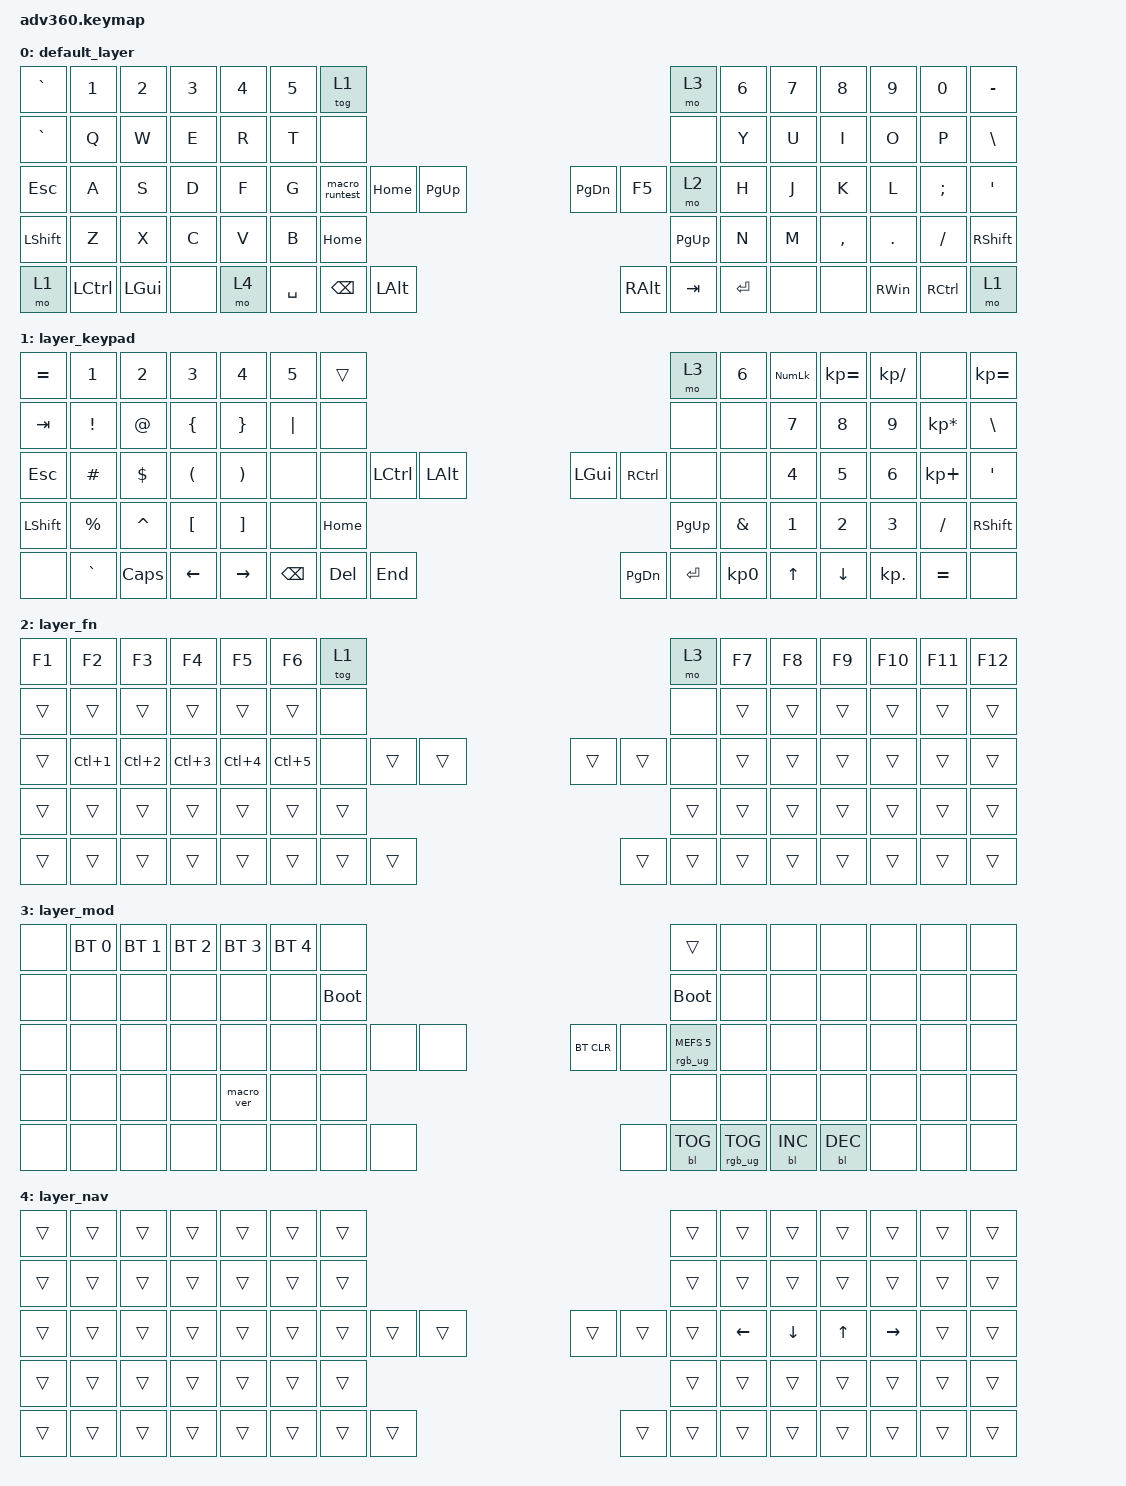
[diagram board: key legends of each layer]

/*
 * Copyright (c) 2020 The ZMK Contributors
 *
 * SPDX-License-Identifier: MIT
 */


/* THIS FILE WAS GENERATED!
 *
 * This file was generated automatically. You may or may not want to
 * edit it directly.
 */

#include <behaviors.dtsi>
#include <dt-bindings/zmk/keys.h>
#include <dt-bindings/zmk/bt.h>
#include <dt-bindings/zmk/rgb.h>
#include <dt-bindings/zmk/backlight.h>

/ {
  behaviors {
    #include "macros.dtsi"
    #include "version.dtsi"

    hm: homerow_mods {
        compatible = "zmk,behavior-hold-tap";
        label = "HOMEROW_MODS";
        #binding-cells = <2>;
        tapping-term-ms = <200>;
        quick_tap_ms = <175>;
        flavor = "tap-preferred";
        bindings = <&kp>, <&kp>;
    };
  };

    keymap {
        compatible = "zmk,keymap";


        default_layer {
            bindings = <
 &kp GRAVE     &kp N1        &kp N2  &kp N3  &kp N4  &kp N5                    &tog 1                                                                           &mo 3  &kp N6  &kp N7     &kp N8         &kp N9     &kp N0  &kp MINUS
 &kp GRAVE      &kp Q         &kp W   &kp E   &kp R   &kp T                     &none                                                                           &none   &kp Y   &kp U      &kp I          &kp O      &kp P   &kp BSLH
   &kp ESC      &kp A         &kp S   &kp D   &kp F   &kp G            &macro_runtest       &kp HOME   &kp PAGE_UP                  &kp PAGE_DOWN   &kp F5      &mo 2   &kp H   &kp J      &kp K          &kp L   &kp SEMI    &kp SQT
 &kp LSHFT      &kp Z         &kp X   &kp C   &kp V   &kp B                                               &kp HOME                      &kp PG_UP                       &kp N   &kp M  &kp COMMA        &kp DOT   &kp FSLH  &kp RSHFT
     &mo 1  &kp LCTRL  &kp LEFT_GUI   &none   &mo 4                         &kp SPACE  &kp BACKSPACE  &kp LEFT_ALT                  &kp RIGHT_ALT  &kp TAB  &kp ENTER           &none      &none  &kp RIGHT_WIN  &kp RCTRL      &mo 1
            >;
        };

        layer_keypad {
            bindings = <
 &kp EQUAL           &kp N1      &kp N2                &kp N3                 &kp N4    &kp N5              &trans                                                                 &mo 3         &kp N6  &kp KP_NUM  &kp KP_EQUAL  &kp KP_DIVIDE            &none  &kp KP_EQUAL
   &kp TAB  &kp EXCLAMATION      &kp AT        &kp LEFT_BRACE        &kp RIGHT_BRACE  &kp PIPE               &none                                                                 &none          &none      &kp N7        &kp N8         &kp N9  &kp KP_MULTIPLY      &kp BSLH
   &kp ESC        &kp POUND  &kp DOLLAR  &kp LEFT_PARENTHESIS  &kp RIGHT_PARENTHESIS     &none               &none  &kp LCTRL  &kp LALT                   &kp LGUI  &kp RCTRL      &none          &none      &kp N4        &kp N5         &kp N6      &kp KP_PLUS       &kp SQT
 &kp LSHFT      &kp PERCENT   &kp CARET      &kp LEFT_BRACKET      &kp RIGHT_BRACKET     &none                                 &kp HOME                  &kp PG_UP                        &kp AMPERSAND      &kp N1        &kp N2         &kp N3        &kp SLASH     &kp RSHFT
     &none        &kp GRAVE    &kp CAPS              &kp LEFT              &kp RIGHT                      &kp BSPC    &kp DEL   &kp END                  &kp PG_DN  &kp ENTER  &kp KP_N0                     &kp UP      &kp DOWN     &kp KP_DOT        &kp EQUAL         &none
            >;
        };

        layer_fn {
            bindings = <
 &kp F1            &kp F2            &kp F3      &kp F4      &kp F5      &kp F6            &tog 1                                                   &mo 3  &kp F7  &kp F8  &kp F9  &kp F10  &kp F11  &kp F12
 &trans            &trans            &trans      &trans      &trans      &trans             &none                                                   &none  &trans  &trans  &trans   &trans   &trans   &trans
 &trans  &kp LC(NUMBER_1)  &kp LC(NUMBER_2)  &kp LC(N3)  &kp LC(N4)  &kp LC(N5)             &none  &trans  &trans                  &trans  &trans   &none  &trans  &trans  &trans   &trans   &trans   &trans
 &trans            &trans            &trans      &trans      &trans      &trans                            &trans                  &trans                  &trans  &trans  &trans   &trans   &trans   &trans
 &trans            &trans            &trans      &trans      &trans                        &trans  &trans  &trans                  &trans  &trans  &trans          &trans  &trans   &trans   &trans   &trans
            >;
        };

        layer_mod {
            bindings = <
  &none  &bt BT_SEL 0  &bt BT_SEL 1  &bt BT_SEL 2  &bt BT_SEL 3  &bt BT_SEL 4                  &none                                                                          &trans   &none       &none       &none   &none   &none   &none
  &none         &none         &none         &none         &none         &none            &bootloader                                                                     &bootloader   &none       &none       &none   &none   &none   &none
  &none         &none         &none         &none         &none         &none                  &none   &none   &none                  &bt BT_CLR       &none  &rgb_ug RGB_MEFS_CMD 5   &none       &none       &none   &none   &none   &none
  &none         &none         &none         &none    &macro_ver         &none                                  &none                       &none                                       &none       &none       &none   &none   &none   &none
  &none         &none         &none         &none         &none                                &none   &none   &none                       &none  &bl BL_TOG         &rgb_ug RGB_TOG          &bl BL_INC  &bl BL_DEC   &none   &none   &none
            >;
        };

        layer_nav {
            bindings = <
 &trans  &trans  &trans  &trans  &trans  &trans            &trans                                                  &trans    &trans    &trans        &trans     &trans  &trans  &trans
 &trans  &trans  &trans  &trans  &trans  &trans            &trans                                                  &trans    &trans    &trans        &trans     &trans  &trans  &trans
 &trans  &trans  &trans  &trans  &trans  &trans            &trans  &trans  &trans                  &trans  &trans  &trans  &kp LEFT  &kp DOWN  &kp UP_ARROW  &kp RIGHT  &trans  &trans
 &trans  &trans  &trans  &trans  &trans  &trans                            &trans                  &trans                    &trans    &trans        &trans     &trans  &trans  &trans
 &trans  &trans  &trans  &trans  &trans                    &trans  &trans  &trans                  &trans  &trans  &trans              &trans        &trans     &trans  &trans  &trans
            >;
        };

    };
};
